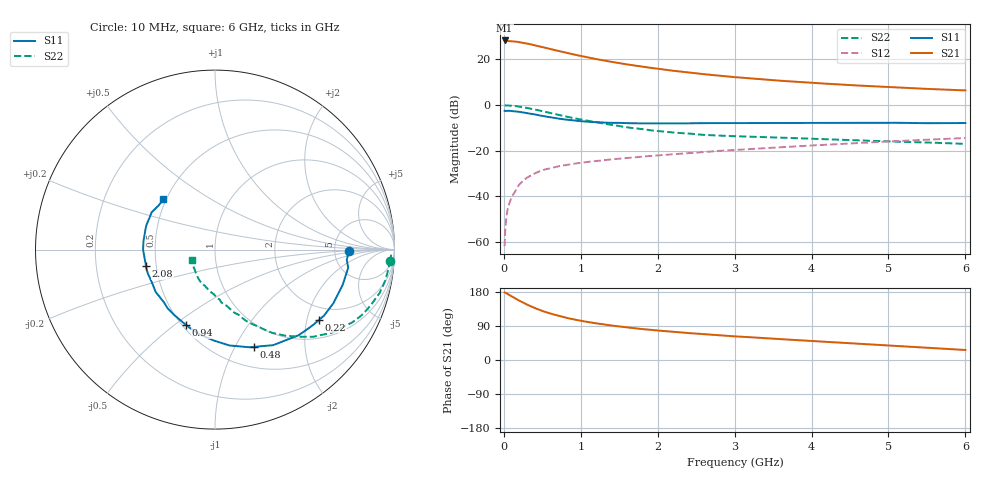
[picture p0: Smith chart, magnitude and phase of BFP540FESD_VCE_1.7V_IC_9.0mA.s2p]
! Infineon Technologies  Discrete & RF Semiconductors
! BFP540FESD
! VCE =  1.7 V,  IC =  9.0 mA
! Common Emitter S-Parameters:  Nov 2015
# GHz  S  MA  R  50
!  f  S11  S21  S12  S22
! GHz  MAG  ANG  MAG  ANG  MAG  ANG  MAG  ANG
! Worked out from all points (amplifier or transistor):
!   210 points, 10 MHz to 6 GHz, reference 50 ohm
!   highest |S21| = 28.3 dB at 10 MHz (marker M1)
!   |S21| within 3 dB of that: start of sweep to 516.7 MHz
!   unconditionally stable (mu >= 1): 2.263 GHz to end of sweep
!   at 185 MHz: K = 0.13, MSG = 31.7 dB, |S12| = -35.7 dB
!   at 1.52 GHz: K = 0.81, MSG = 20.9 dB, |S12| = -23.5 dB
!   at 6 GHz: K = 1.23, MAG = 7.6 dB, |S12| = -14.5 dB
!   S11 on the Smith chart (normalised r, x): 10 MHz: 6.85, -0.32; 220 MHz: 1.55, -2.38; 480 MHz: 0.73, -1.20; 940 MHz: 0.52, -0.55; 2.08 GHz: 0.44, -0.10; 6 GHz: 0.48, +0.32
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0.01  0.7458 -0.8  26.02 178.3  0.0008 78.6  0.9785 -3.7
0.02  0.7364 -4.4  25.24 177.7  0.002 80.1  0.9817 -1.9
0.05  0.749 -7.8  25.34 174.2  0.0052 81.4  0.9751 -4.9
0.15  0.7242 -24.4  24.69 162.5  0.0129 81.0  0.9484 -14.8
0.22  0.7 -33.9  23.59 154.7  0.0194 75.0  0.912 -21.2
0.3  0.6667 -45.7  22.36 146.3  0.0254 70.5  0.8649 -28.0
0.4  0.6232 -58.7  20.52 137.3  0.0313 65.5  0.7994 -35.4
0.48  0.5841 -68.1  19.07 131.1  0.036 62.1  0.7434 -40.3
0.6  0.5403 -81.4  16.94 122.7  0.041 58.1  0.667 -46.7
0.7  0.5075 -90.5  15.47 117.1  0.0449 55.7  0.6142 -51.2
0.8  0.4801 -100.3  14.11 111.8  0.0482 54.2  0.5618 -55.6
0.94  0.4498 -110.9  12.49 105.9  0.0522 52.1  0.5031 -59.8
1.02  0.4374 -116.6  11.7 102.8  0.0545 51.5  0.474 -62.4
1.2  0.4202 -129.0  10.16 96.7  0.0589 50.3  0.4172 -67.7
1.48  0.4059 -143.6  8.391 88.9  0.0657 49.4  0.3495 -74.9
2.02  0.396 -165.0  6.163 77.4  0.0787 48.1  0.2663 -88.2
2.08  0.3953 -166.4  5.987 76.5  0.0802 48.0  0.2602 -89.3
2.6  0.4008 -179.5  4.737 68.1  0.0924 47.3  0.2205 -101.6
3.1  0.401 171.5  3.961 61.3  0.1054 45.8  0.2044 -109.1
4.1  0.4053 159.3  2.992 49.0  0.132 42.7  0.1793 -123.2
5.1  0.4071 148.1  2.431 37.0  0.1614 36.8  0.157 -137.2
6  0.4018 135.6  2.088 26.4  0.1883 30.9  0.1404 -155.5
